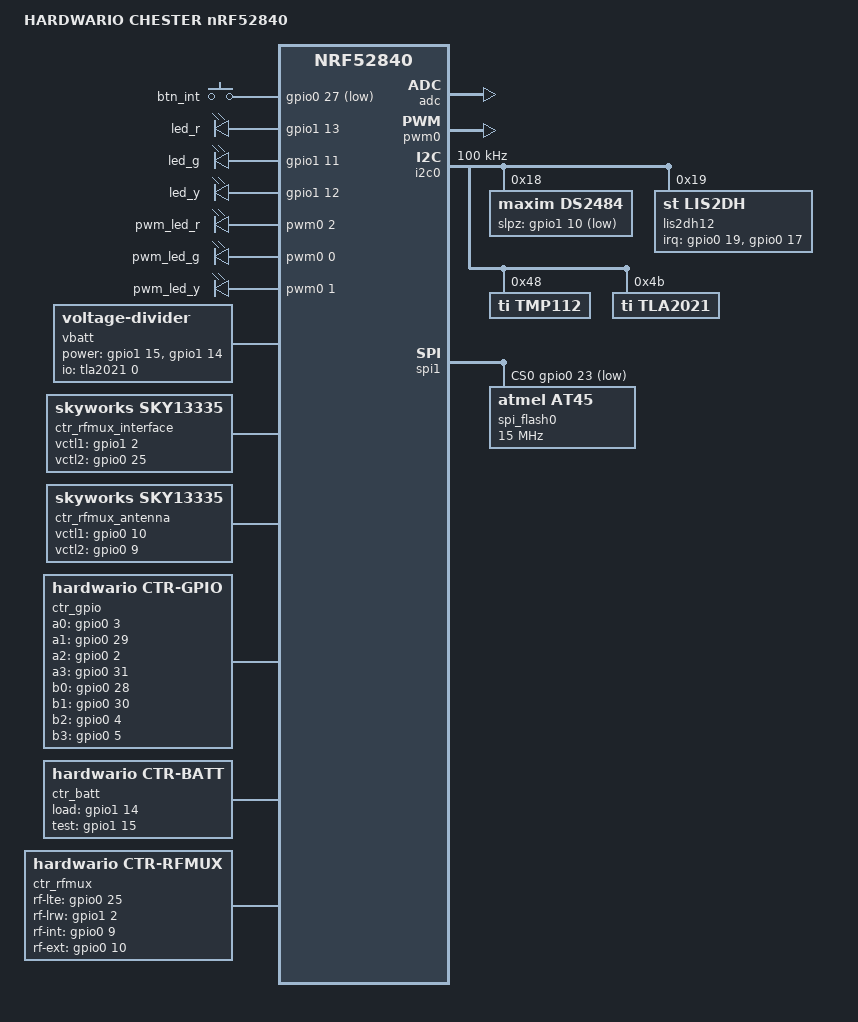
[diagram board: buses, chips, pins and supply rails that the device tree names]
/*
 * Copyright (c) 2023 HARDWARIO a.s.
 *
 * SPDX-License-Identifier: LicenseRef-HARDWARIO-5-Clause
 */

/dts-v1/;

#include <nordic/nrf52840_qiaa.dtsi>
#include <zephyr/dt-bindings/input/input-event-codes.h>

#include "chester_nrf52840-pinctrl.dtsi"

/ {
	model = "HARDWARIO CHESTER nRF52840";
	compatible = "hardwario,chester-nrf52840";

	chosen {
		zephyr,sram = &sram0;
		zephyr,flash = &flash0;
		zephyr,code-partition = &slot0_partition;
		zephyr,ieee802154 = &ieee802154;
		ctr,batt_adc = &tla2021;
		ctr,lrw_if = &ctr_lrw_if;
		ctr,lte_if = &ctr_lte_if;
	};

	gpio_keys: gpio_keys {
		compatible = "gpio-keys";

		btn_int: btn_int {
			gpios = <&gpio0 27 (GPIO_PULL_UP | GPIO_ACTIVE_LOW)>;
			zephyr,code = <INPUT_KEY_0>;
		};

		btn_ext: btn_ext {
			gpios = <&gpio0 26 (GPIO_PULL_UP | GPIO_ACTIVE_LOW)>;
			zephyr,code = <INPUT_KEY_1>;
			status = "disabled";
		};

		tamper_key: tamper_key {
			gpios = <&gpio0 12 (GPIO_PULL_UP | GPIO_ACTIVE_LOW)>;
			zephyr,code = <INPUT_KEY_2>;
			status = "disabled";
		};
	};

	gpio_leds: gpio_leds {
		compatible = "gpio-leds";

		led_r: led_r {
			gpios = <&gpio1 13 GPIO_ACTIVE_HIGH>;
		};

		led_g: led_g {
			gpios = <&gpio1 11 GPIO_ACTIVE_HIGH>;
		};

		led_y: led_y {
			gpios = <&gpio1 12 GPIO_ACTIVE_HIGH>;
		};

		led_ext: led_ext {
			gpios = <&gpio1 4 GPIO_ACTIVE_HIGH>;
			status = "disabled";
		};

		led_load: led_load {
			gpios = <&gpio1 5 GPIO_ACTIVE_HIGH>;
			status = "disabled";
		};
	};

	pwm_leds: pwm_leds {
		compatible = "pwm-leds";

		pwm_led_r: pwm_led_r {
			pwms = <&pwm0 2 PWM_MSEC(20) PWM_POLARITY_NORMAL>;
		};

		pwm_led_g: pwm_led_g {
			pwms = <&pwm0 0 PWM_MSEC(20) PWM_POLARITY_NORMAL>;
		};

		pwm_led_y: pwm_led_y {
			pwms = <&pwm0 1 PWM_MSEC(20) PWM_POLARITY_NORMAL>;
		};

		pwm_led_ext: pwm_led_ext {
			pwms = <&pwm0 3 PWM_MSEC(20) PWM_POLARITY_NORMAL>;
			status = "disabled";
		};
	};

	vbatt {
		compatible = "voltage-divider";
		io-channels = <&tla2021 0>;
		output-ohms = <5000>;
		full-ohms = <(10000 + 5000)>;

		/*
		 * The second GPIO is an optional 10 kOhm load resistor
		 */
		power-gpios = <&gpio1 15 GPIO_ACTIVE_HIGH>,
		              <&gpio1 14 GPIO_ACTIVE_HIGH>;
	};

	ctr_rfmux_interface: ctr_rfmux_interface {
		compatible = "skyworks,sky13335";

		/*
		 * LoRaWAN modem
		 */
		vctl1-gpios = <&gpio1 2 GPIO_ACTIVE_HIGH>;

		/*
		 * LTE modem
		 */
		vctl2-gpios = <&gpio0 25 GPIO_ACTIVE_HIGH>;
	};

	ctr_rfmux_antenna: ctr_rfmux_antenna {
		compatible = "skyworks,sky13335";

		/*
		 * External antenna
		 */
		vctl1-gpios = <&gpio0 10 GPIO_ACTIVE_HIGH>;

		/*
		 * Internal antenna
		 */
		vctl2-gpios = <&gpio0 9 GPIO_ACTIVE_HIGH>;
	};

	ctr_gpio: ctr_gpio {
		compatible = "hardwario,ctr-gpio";
		a0-gpios = <&gpio0 3 0>;
		a1-gpios = <&gpio0 29 0>;
		a2-gpios = <&gpio0 2 0>;
		a3-gpios = <&gpio0 31 0>;
		b0-gpios = <&gpio0 28 0>;
		b1-gpios = <&gpio0 30 0>;
		b2-gpios = <&gpio0 4 0>;
		b3-gpios = <&gpio0 5 0>;
	};

	ctr_batt: ctr_batt {
		compatible = "hardwario,ctr-batt";
		load-gpios = <&gpio1 14 GPIO_ACTIVE_HIGH>;
		test-gpios = <&gpio1 15 GPIO_ACTIVE_HIGH>;
		load-resistor = <100>;
		divider-r1 = <10>;
		divider-r2 = <5>;
	};

	ctr_rfmux: ctr_rfmux {
		compatible = "hardwario,ctr-rfmux";
		rf-lte-gpios = <&gpio0 25 GPIO_ACTIVE_HIGH>;
		rf-lrw-gpios = <&gpio1 2 GPIO_ACTIVE_HIGH>;
		rf-int-gpios = <&gpio0 9 GPIO_ACTIVE_HIGH>;
		rf-ext-gpios = <&gpio0 10 GPIO_ACTIVE_HIGH>;
	};

	aliases {
		led0 = &led_g;
		led1 = &led_y;
		led2 = &led_r;
		led3 = &led_ext;
		pwm-led0 = &pwm_led_g;
		pwm-led1 = &pwm_led_y;
		pwm-led2 = &pwm_led_r;
		pwm-led3 = &pwm_led_ext;
		sw0 = &btn_int;
		sw1 = &btn_ext;
		mcuboot-button0 = &btn_int;
		mcuboot-led0 = &led_g;
		watchdog0 = &wdt0;
		spi-flash0 = &spi_flash0;
		accel0 = &lis2dh12;
		ambient-temp0 = &tmp112;
	};
};

&adc {
	status = "okay";
};

&gpiote {
	status = "okay";
};

&gpio0 {
	status = "okay";
};

&gpio1 {
	status = "okay";
};

&pwm0 {
	pinctrl-0 = <&pwm0_default>;
	pinctrl-1 = <&pwm0_sleep>;
	pinctrl-names = "default", "sleep";
	status = "okay";
};

&i2c0 {
	compatible = "nordic,nrf-twim";
	status = "okay";
	clock-frequency = <I2C_BITRATE_STANDARD>;
	pinctrl-0 = <&i2c0_default>;
	pinctrl-1 = <&i2c0_sleep>;
	pinctrl-names = "default", "sleep";

	ds2484: ds2484@18 {
		compatible = "maxim,ds2484";
		#address-cells = <1>;
		#size-cells = <0>;
		reg = <0x18>;
		slpz-gpios = <&gpio1 10 GPIO_ACTIVE_LOW>;
		active-pullup;
	};

	lis2dh12: lis2dh12@19 {
		compatible = "st,lis2dh";
		reg = <0x19>;
		irq-gpios = <&gpio0 19 GPIO_ACTIVE_HIGH>,
		            <&gpio0 17 GPIO_ACTIVE_HIGH>;
		disconnect-sdo-sa0-pull-up;
	};

	m8: m8@42 {
		compatible = "u-blox,m8";
		status = "disabled";
		reg = <0x42>;
		main-en-gpios = <&gpio1 1 GPIO_ACTIVE_HIGH>;
		bckp-en-gpios = <&gpio1 3 GPIO_ACTIVE_HIGH>;
	};

	sht30: sht30@44 {
		compatible = "sensirion,sht3xd";
		status = "disabled";
		reg = <0x44>;
	};

	tmp112: tmp112@48 {
		compatible = "ti,tmp112";
		reg = <0x48>;
	};

	tla2021: tla2021@4b {
		compatible = "ti,tla2021";
		reg = <0x4b>;
		#address-cells = <1>;
		#size-cells = <0>;
		#io-channel-cells = <1>;

		channel@0 {
			reg = <0>;
			zephyr,gain = "ADC_GAIN_1";
			zephyr,reference = "ADC_REF_INTERNAL";
			zephyr,acquisition-time = <ADC_ACQ_TIME_DEFAULT>;
			zephyr,input-positive = <0>;
			zephyr,input-negative = <1>;
			zephyr,resolution = <12>;
		};
	};
};

&spi1 {
	status = "okay";
	pinctrl-0 = <&spi1_default>;
	pinctrl-1 = <&spi1_sleep>;
	pinctrl-names = "default", "sleep";
	cs-gpios = <&gpio0 23 GPIO_ACTIVE_LOW>;

	spi_flash0: at45db641e@0 {
		compatible = "atmel,at45";
		reg = <0>;
		spi-max-frequency = <DT_FREQ_M(15)>;
		jedec-id = [1f 28 00];
		size = <DT_SIZE_M(64)>;
		sector-size = <DT_SIZE_K(256)>;
		block-size = <DT_SIZE_K(2)>;
		page-size = <256>;
		use-udpd;
		enter-dpd-delay = <3000>;  /* dpd: 2000 ns, udpd: 3000 ns */
		exit-dpd-delay = <100000>;  /* dpd: 35000 ns, udpd: 100000 ns */
	};
};

&uart0 {
	status = "disabled";
	compatible = "nordic,nrf-uarte";
	current-speed = <115200>;
	pinctrl-0 = <&uart0_default>;
	pinctrl-1 = <&uart0_sleep>;
	pinctrl-names = "default", "sleep";

	ctr_lte_if: ctr_lte_if {
		compatible = "hardwario,ctr-lte-if";
		status = "disabled";
		reset-gpios = <&gpio1 7 (GPIO_ACTIVE_LOW | GPIO_OPEN_DRAIN)>;
		wakeup-gpios = <&gpio0 15 (GPIO_ACTIVE_LOW | GPIO_OPEN_DRAIN)>;
	};
};

&uart1 {
	status = "disabled";
	compatible = "nordic,nrf-uarte";
	current-speed = <19200>;
	pinctrl-0 = <&uart1_default>;
	pinctrl-1 = <&uart1_sleep>;
	pinctrl-names = "default", "sleep";

	ctr_lrw_if: ctr_lrw_if {
		compatible = "hardwario,ctr-lrw-if";
		status = "disabled";
		reset-gpios = <&gpio0 11 (GPIO_ACTIVE_LOW | GPIO_OPEN_DRAIN)>;
	};
};

&ieee802154 {
	status = "disabled";
};

/*
 * NFCT pins are used as GPIOs
 */
&nfct {
	status = "disabled";
};

&flash0 {
	partitions {
		compatible = "fixed-partitions";
		#address-cells = <1>;
		#size-cells = <1>;

		boot_partition: partition@0 {
			label = "mcuboot";
			reg = <0x00000000 DT_SIZE_K(48)>;
			read-only;
		};

		slot0_partition: partition@c000 {
			label = "image-0";
			reg = <0x0000c000 DT_SIZE_K(412)>;
		};

		slot1_partition: partition@73000 {
			label = "image-1";
			reg = <0x00073000 DT_SIZE_K(412)>;
		};

		scratch_partition: partition@da000 {
			label = "image-scratch";
			reg = <0x000da000 DT_SIZE_K(120)>;
		};

		storage_partition: partition@f8000 {
			label = "storage";
			reg = <0x000f8000 DT_SIZE_K(32)>;
		};
	};
};

#include "chester-expansion-modules.dtsi"
